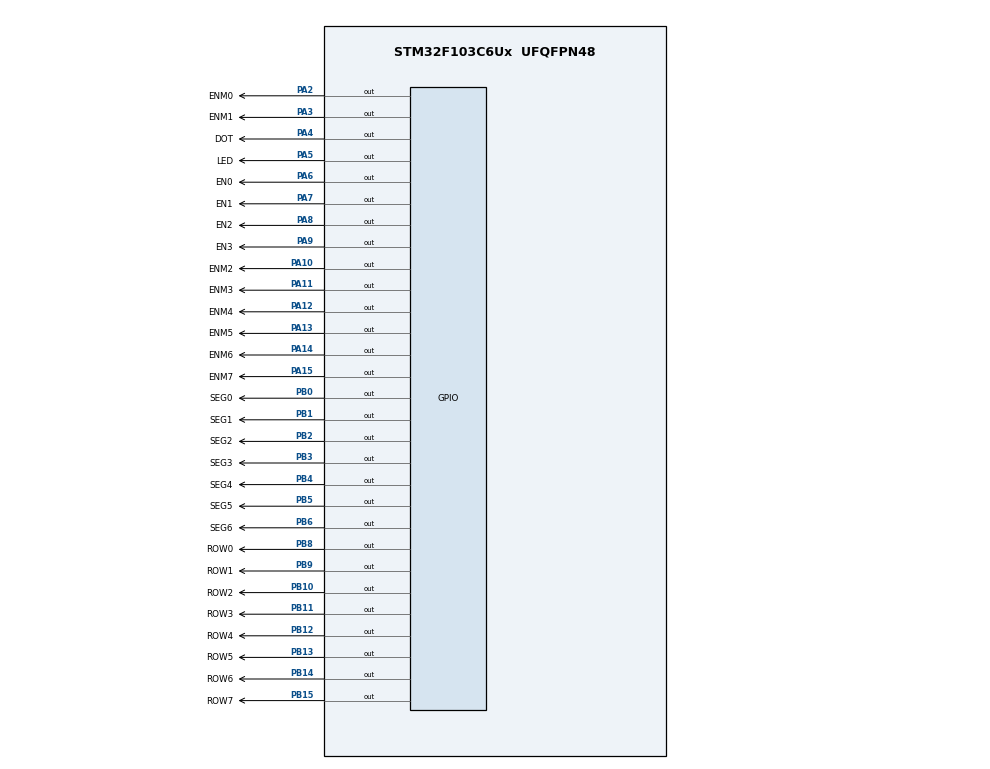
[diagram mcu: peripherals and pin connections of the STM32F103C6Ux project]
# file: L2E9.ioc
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Mcu.Family=STM32F1
Mcu.Name=STM32F103C6Ux
Mcu.Package=UFQFPN48
NVIC.PriorityGroup=NVIC_PRIORITYGROUP_4
NVIC.TIM2_IRQn=true\:0\:0\:false\:false\:true\:true\:true
PA10.GPIO_Label=ENM2
PA10.Signal=GPIO_Output
PA11.GPIO_Label=ENM3
PA11.Signal=GPIO_Output
PA12.GPIO_Label=ENM4
PA12.Signal=GPIO_Output
PA13.GPIO_Label=ENM5
PA13.Signal=GPIO_Output
PA14.GPIO_Label=ENM6
PA14.Signal=GPIO_Output
PA15.GPIO_Label=ENM7
PA15.Signal=GPIO_Output
PA2.GPIO_Label=ENM0
PA2.Signal=GPIO_Output
PA3.GPIO_Label=ENM1
PA3.Signal=GPIO_Output
PA4.GPIO_Label=DOT
PA4.Signal=GPIO_Output
PA5.GPIO_Label=LED
PA5.Signal=GPIO_Output
PA6.GPIO_Label=EN0
PA6.Signal=GPIO_Output
PA7.GPIO_Label=EN1
PA7.Signal=GPIO_Output
PA8.GPIO_Label=EN2
PA8.Signal=GPIO_Output
PA9.GPIO_Label=EN3
PA9.Signal=GPIO_Output
PB0.GPIO_Label=SEG0
PB0.Signal=GPIO_Output
PB1.GPIO_Label=SEG1
PB1.Signal=GPIO_Output
PB10.GPIO_Label=ROW2
PB10.Signal=GPIO_Output
PB11.GPIO_Label=ROW3
PB11.Signal=GPIO_Output
PB12.GPIO_Label=ROW4
PB12.Signal=GPIO_Output
PB13.GPIO_Label=ROW5
PB13.Signal=GPIO_Output
PB14.GPIO_Label=ROW6
PB14.Signal=GPIO_Output
PB15.GPIO_Label=ROW7
PB15.Signal=GPIO_Output
PB2.GPIO_Label=SEG2
PB2.Signal=GPIO_Output
PB3.GPIO_Label=SEG3
PB3.Signal=GPIO_Output
PB4.GPIO_Label=SEG4
PB4.Signal=GPIO_Output
PB5.GPIO_Label=SEG5
PB5.Signal=GPIO_Output
PB6.GPIO_Label=SEG6
PB6.Signal=GPIO_Output
PB8.GPIO_Label=ROW0
PB8.Signal=GPIO_Output
PB9.GPIO_Label=ROW1
PB9.Signal=GPIO_Output
ProjectManager.HeapSize=0x200
ProjectManager.StackSize=0x400
ProjectManager.TargetToolchain=STM32CubeIDE
RCC.APB1Freq_Value=8000000
RCC.APB2Freq_Value=8000000
TIM2.Period=9
TIM2.Prescaler=7999
VP_SYS_VS_ND.Mode=No_Debug
VP_TIM2_VS_ClockSourceINT.Mode=Internal
board=custom

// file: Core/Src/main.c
/* USER CODE BEGIN Header */
/**
  ******************************************************************************
  * @file           : main.c
  * @brief          : Main program body
  ******************************************************************************
  * @attention
  *
  * <h2><center>&copy; Copyright (c) 2024 STMicroelectronics.
  * All rights reserved.</center></h2>
  *
  * This software component is licensed by ST under BSD 3-Clause license,
  * the "License"; You may not use this file except in compliance with the
  * License. You may obtain a copy of the License at:
  *                        opensource.org/licenses/BSD-3-Clause
  *
  ******************************************************************************
  */
/* USER CODE END Header */
#include "main.h"
void display7SEG(int num);
void update7SEG(int index);
void updateClockBuffer();
void setCol(uint8_t val);

TIM_HandleTypeDef htim2;

void SystemClock_Config(void);
static void MX_GPIO_Init(void);
static void MX_TIM2_Init(void);

/* USER CODE BEGIN 0 */
const int MAX_LED = 4;
int index_led = 0;
int led_buffer[4] = {0, 0, 0, 0};
int hour = 15 , minute = 8 , second = 50;
int timer0_counter = 0;
int timer0_flag = 0;
int timer1_counter = 0;
int timer1_flag = 0;
int timer2_counter = 0;
int timer2_flag = 0;
int timer3_counter = 0;
int timer3_flag = 0;
int TIMER_CYCLE = 10;

const int MAX_LED_MATRIX = 8;
int index_led_matrix = 0;
uint8_t matrix_buffer[8] = {0xE7,0xDB,0xBD,0x7E,0x00,0x00,0x7E,0x7E}; // cap A

void setTimer0(int duration){
	timer0_counter = duration / TIMER_CYCLE ;
	timer0_flag = 0;
}
void setTimer1(int duration){
	timer1_counter = duration / TIMER_CYCLE ;
	timer1_flag = 0;
}
void setTimer2(int duration){
	timer2_counter = duration / TIMER_CYCLE ;
	timer2_flag = 0;
}
void setTimer3(int duration){
	timer3_counter = duration / TIMER_CYCLE ;
	timer3_flag = 0;
}
void timer_run(){
	if( timer0_counter > 0){
		timer0_counter--;
		if(timer0_counter == 0) timer0_flag = 1;
	}
	if( timer1_counter > 0){
		timer1_counter--;
		if(timer1_counter == 0) timer1_flag = 1;
	}
	if( timer2_counter > 0){
		timer2_counter--;
		if(timer2_counter == 0) timer2_flag = 1;
	}
	if( timer3_counter > 0){
		timer3_counter--;
		if(timer3_counter == 0) timer3_flag = 1;
	}
}
/* USER CODE END 0 */
void setCol(uint8_t val){
	HAL_GPIO_WritePin(ENM0_GPIO_Port, ENM0_Pin, ((val>>7)&0x01));
	HAL_GPIO_WritePin(ENM1_GPIO_Port, ENM1_Pin, ((val>>6)&0x01));
	HAL_GPIO_WritePin(ENM2_GPIO_Port, ENM2_Pin, ((val>>5)&0x01));
	HAL_GPIO_WritePin(ENM3_GPIO_Port, ENM3_Pin, ((val>>4)&0x01));
	HAL_GPIO_WritePin(ENM4_GPIO_Port, ENM4_Pin, ((val>>3)&0x01));
	HAL_GPIO_WritePin(ENM5_GPIO_Port, ENM5_Pin, ((val>>2)&0x01));
	HAL_GPIO_WritePin(ENM6_GPIO_Port, ENM6_Pin, ((val>>1)&0x01));
	HAL_GPIO_WritePin(ENM7_GPIO_Port, ENM7_Pin, ((val>>0)&0x01));
}

void updateLEDMatrix(uint8_t index){
    HAL_GPIO_WritePin(ROW0_GPIO_Port, ROW0_Pin, SET);
    HAL_GPIO_WritePin(ROW1_GPIO_Port, ROW1_Pin, SET);
    HAL_GPIO_WritePin(ROW2_GPIO_Port, ROW2_Pin, SET);
    HAL_GPIO_WritePin(ROW3_GPIO_Port, ROW3_Pin, SET);
    HAL_GPIO_WritePin(ROW4_GPIO_Port, ROW4_Pin, SET);
    HAL_GPIO_WritePin(ROW5_GPIO_Port, ROW5_Pin, SET);
    HAL_GPIO_WritePin(ROW6_GPIO_Port, ROW6_Pin, SET);
    HAL_GPIO_WritePin(ROW7_GPIO_Port, ROW7_Pin, SET);

    switch (index) {
        case 0:
            setCol(matrix_buffer[0]);
            HAL_GPIO_WritePin(ROW0_GPIO_Port, ROW0_Pin, RESET);
            break;
        case 1:
            setCol(matrix_buffer[1]);
            HAL_GPIO_WritePin(ROW1_GPIO_Port, ROW1_Pin, RESET);
            break;
        case 2:
            setCol(matrix_buffer[2]);
            HAL_GPIO_WritePin(ROW2_GPIO_Port, ROW2_Pin, RESET);
            break;
        case 3:
            setCol(matrix_buffer[3]);
            HAL_GPIO_WritePin(ROW3_GPIO_Port, ROW3_Pin, RESET);
            break;
        case 4:
            setCol(matrix_buffer[4]);
            HAL_GPIO_WritePin(ROW4_GPIO_Port, ROW4_Pin, RESET);
            break;
        case 5:
            setCol(matrix_buffer[5]);
            HAL_GPIO_WritePin(ROW5_GPIO_Port, ROW5_Pin, RESET);
            break;
        case 6:
            setCol(matrix_buffer[6]);
            HAL_GPIO_WritePin(ROW6_GPIO_Port, ROW6_Pin, RESET);
            break;
        case 7:
            setCol(matrix_buffer[7]);
            HAL_GPIO_WritePin(ROW7_GPIO_Port, ROW7_Pin, RESET);
            break;
        default:
            break;
    }
}

void updateClockBuffer(){
    led_buffer[0] = hour / 10;
    led_buffer[1] = hour % 10;
    led_buffer[2] = minute / 10;
    led_buffer[3] = minute % 10;
}

void update7SEG(int index){
	switch(index){
	case 0:
		display7SEG(led_buffer[0]);
    	HAL_GPIO_WritePin(GPIOA, EN0_Pin, 0);
    	HAL_GPIO_WritePin(GPIOA, EN1_Pin, 1);
    	HAL_GPIO_WritePin(GPIOA, EN2_Pin, 1);
    	HAL_GPIO_WritePin(GPIOA, EN3_Pin, 1);
		break;
	case 1:
		display7SEG(led_buffer[1]);
    	HAL_GPIO_WritePin(GPIOA, EN0_Pin, 1);
    	HAL_GPIO_WritePin(GPIOA, EN1_Pin, 0);
    	HAL_GPIO_WritePin(GPIOA, EN2_Pin, 1);
    	HAL_GPIO_WritePin(GPIOA, EN3_Pin, 1);
		break;
	case 2:
		display7SEG(led_buffer[2]);
    	HAL_GPIO_WritePin(GPIOA, EN0_Pin, 1);
    	HAL_GPIO_WritePin(GPIOA, EN1_Pin, 1);
    	HAL_GPIO_WritePin(GPIOA, EN2_Pin, 0);
    	HAL_GPIO_WritePin(GPIOA, EN3_Pin, 1);
		break;
	case 3:
		display7SEG(led_buffer[3]);
    	HAL_GPIO_WritePin(GPIOA, EN0_Pin, 1);
    	HAL_GPIO_WritePin(GPIOA, EN1_Pin, 1);
    	HAL_GPIO_WritePin(GPIOA, EN2_Pin, 1);
    	HAL_GPIO_WritePin(GPIOA, EN3_Pin, 0);
		break;
	default:
		break;
	}
}

void display7SEG(int num){
	  switch (num)
	      {
	      case 0:
	          HAL_GPIO_WritePin(GPIOB, SEG0_Pin | SEG1_Pin | SEG2_Pin | SEG3_Pin | SEG4_Pin | SEG5_Pin, GPIO_PIN_RESET);
	          HAL_GPIO_WritePin(GPIOB, SEG6_Pin, GPIO_PIN_SET);
	          break;
	      case 1:
	          HAL_GPIO_WritePin(GPIOB, SEG1_Pin | SEG2_Pin , GPIO_PIN_RESET);
	          HAL_GPIO_WritePin(GPIOB, SEG0_Pin | SEG6_Pin | SEG3_Pin | SEG4_Pin | SEG5_Pin, GPIO_PIN_SET);
	          break;
	      case 2:
	          HAL_GPIO_WritePin(GPIOB, SEG0_Pin | SEG1_Pin | SEG6_Pin | SEG3_Pin | SEG4_Pin , GPIO_PIN_RESET);
	          HAL_GPIO_WritePin(GPIOB, SEG2_Pin | SEG5_Pin, GPIO_PIN_SET);
	          break;
	      case 3:
	          HAL_GPIO_WritePin(GPIOB, SEG0_Pin | SEG1_Pin | SEG2_Pin | SEG3_Pin | SEG6_Pin, GPIO_PIN_RESET);
	          HAL_GPIO_WritePin(GPIOB, SEG4_Pin| SEG5_Pin, GPIO_PIN_SET);
	          break;
	      case 4:
	          HAL_GPIO_WritePin(GPIOB, SEG1_Pin | SEG2_Pin | SEG5_Pin | SEG6_Pin , GPIO_PIN_RESET);
	          HAL_GPIO_WritePin(GPIOB, SEG0_Pin| SEG3_Pin | SEG4_Pin, GPIO_PIN_SET);
	          break;
	      case 5:
	          HAL_GPIO_WritePin(GPIOB, SEG0_Pin | SEG2_Pin | SEG3_Pin | SEG5_Pin | SEG6_Pin, GPIO_PIN_RESET);
	          HAL_GPIO_WritePin(GPIOB, SEG1_Pin | SEG4_Pin , GPIO_PIN_SET);
	          break;
	      case 6:
	          HAL_GPIO_WritePin(GPIOB, SEG0_Pin | SEG2_Pin | SEG3_Pin | SEG4_Pin | SEG5_Pin | SEG6_Pin, GPIO_PIN_RESET);
	          HAL_GPIO_WritePin(GPIOB, SEG1_Pin, GPIO_PIN_SET);
	          break;
	      case 7:
	          HAL_GPIO_WritePin(GPIOB, SEG0_Pin | SEG1_Pin | SEG2_Pin , GPIO_PIN_RESET);
	          HAL_GPIO_WritePin(GPIOB, SEG3_Pin| SEG4_Pin | SEG5_Pin | SEG6_Pin, GPIO_PIN_SET);
	          break;
	      case 8:
	          HAL_GPIO_WritePin(GPIOB, SEG0_Pin | SEG1_Pin | SEG2_Pin | SEG3_Pin | SEG4_Pin | SEG5_Pin | SEG6_Pin, GPIO_PIN_RESET);
	          break;
	      case 9:
	          HAL_GPIO_WritePin(GPIOB, SEG0_Pin | SEG1_Pin | SEG2_Pin | SEG3_Pin | SEG5_Pin | SEG6_Pin, GPIO_PIN_RESET);
	          HAL_GPIO_WritePin(GPIOB, SEG4_Pin, GPIO_PIN_SET);
	          break;
	      }
}
int main(void)
{

  /* MCU Configuration--------------------------------------------------------*/

  /* Reset of all peripherals, Initializes the Flash interface and the Systick. */
  HAL_Init();

  /* Configure the system clock */
  SystemClock_Config();

  /* Initialize all configured peripherals */
  MX_GPIO_Init();
  MX_TIM2_Init();
  /* USER CODE BEGIN 2 */
  HAL_TIM_Base_Start_IT(&htim2);
  /* USER CODE END 2 */

  /* Infinite loop */
  /* USER CODE BEGIN WHILE */
  setTimer0(1000);
  setTimer1(1000);
  setTimer2(500);
  setTimer3(50);
  while (1)
  {
    /* USER CODE END WHILE */
	  if(timer0_flag == 1){
		  HAL_GPIO_TogglePin(LED_GPIO_Port , LED_Pin);
		  HAL_GPIO_TogglePin(DOT_GPIO_Port, DOT_Pin);
		  setTimer0(1000);
	  }

	  if(timer1_flag == 1){
		  second++;
		  if(second >= 60){
			  second = 0;
			  minute++;
		  }
		  if(minute >= 60){
			  minute = 0;
			  hour++;
		  }
		  if(hour >=24){
			  hour = 0;
		  }
		  updateClockBuffer();
		  setTimer1(1000);
	  }

	  if(timer2_flag == 1){
		  update7SEG(index_led);
		  index_led++;
		  if(index_led>=4){
			  index_led = 0;
		  }
		  setTimer2(500);
	  }

	  if(timer3_flag == 1){
		  updateLEDMatrix(index_led_matrix);
		  index_led_matrix++;
		  if(index_led_matrix>=8){
			  index_led_matrix = 0;
		  }
		  setTimer3(50);
	  }
  }
}

void SystemClock_Config(void)
{
  RCC_OscInitTypeDef RCC_OscInitStruct = {0};
  RCC_ClkInitTypeDef RCC_ClkInitStruct = {0};

  /** Initializes the RCC Oscillators according to the specified parameters
  * in the RCC_OscInitTypeDef structure.
  */
  RCC_OscInitStruct.OscillatorType = RCC_OSCILLATORTYPE_HSI;
  RCC_OscInitStruct.HSIState = RCC_HSI_ON;
  RCC_OscInitStruct.HSICalibrationValue = RCC_HSICALIBRATION_DEFAULT;
  RCC_OscInitStruct.PLL.PLLState = RCC_PLL_NONE;
  if (HAL_RCC_OscConfig(&RCC_OscInitStruct) != HAL_OK)
  {
    Error_Handler();
  }
  /** Initializes the CPU, AHB and APB buses clocks
  */
  RCC_ClkInitStruct.ClockType = RCC_CLOCKTYPE_HCLK|RCC_CLOCKTYPE_SYSCLK
                              |RCC_CLOCKTYPE_PCLK1|RCC_CLOCKTYPE_PCLK2;
  RCC_ClkInitStruct.SYSCLKSource = RCC_SYSCLKSOURCE_HSI;
  RCC_ClkInitStruct.AHBCLKDivider = RCC_SYSCLK_DIV1;
  RCC_ClkInitStruct.APB1CLKDivider = RCC_HCLK_DIV1;
  RCC_ClkInitStruct.APB2CLKDivider = RCC_HCLK_DIV1;

  if (HAL_RCC_ClockConfig(&RCC_ClkInitStruct, FLASH_LATENCY_0) != HAL_OK)
  {
    Error_Handler();
  }
}

static void MX_TIM2_Init(void)
{

  TIM_ClockConfigTypeDef sClockSourceConfig = {0};
  TIM_MasterConfigTypeDef sMasterConfig = {0};

  htim2.Instance = TIM2;
  htim2.Init.Prescaler = 7999;
  htim2.Init.CounterMode = TIM_COUNTERMODE_UP;
  htim2.Init.Period = 9;
  htim2.Init.ClockDivision = TIM_CLOCKDIVISION_DIV1;
  htim2.Init.AutoReloadPreload = TIM_AUTORELOAD_PRELOAD_DISABLE;
  if (HAL_TIM_Base_Init(&htim2) != HAL_OK)
  {
    Error_Handler();
  }
  sClockSourceConfig.ClockSource = TIM_CLOCKSOURCE_INTERNAL;
  if (HAL_TIM_ConfigClockSource(&htim2, &sClockSourceConfig) != HAL_OK)
  {
    Error_Handler();
  }
  sMasterConfig.MasterOutputTrigger = TIM_TRGO_RESET;
  sMasterConfig.MasterSlaveMode = TIM_MASTERSLAVEMODE_DISABLE;
  if (HAL_TIMEx_MasterConfigSynchronization(&htim2, &sMasterConfig) != HAL_OK)
  {
    Error_Handler();
  }

}

static void MX_GPIO_Init(void)
{
  GPIO_InitTypeDef GPIO_InitStruct = {0};

  /* GPIO Ports Clock Enable */
  __HAL_RCC_GPIOA_CLK_ENABLE();
  __HAL_RCC_GPIOB_CLK_ENABLE();

  /*Configure GPIO pin Output Level */
  HAL_GPIO_WritePin(GPIOA, ENM0_Pin|ENM1_Pin|DOT_Pin|LED_Pin
                          |EN0_Pin|EN1_Pin|EN2_Pin|EN3_Pin
                          |ENM2_Pin|ENM3_Pin|ENM4_Pin|ENM5_Pin
                          |ENM6_Pin|ENM7_Pin, GPIO_PIN_RESET);

  /*Configure GPIO pin Output Level */
  HAL_GPIO_WritePin(GPIOB, SEG0_Pin|SEG1_Pin|SEG2_Pin|ROW2_Pin
                          |ROW3_Pin|ROW4_Pin|ROW5_Pin|ROW6_Pin
                          |ROW7_Pin|SEG3_Pin|SEG4_Pin|SEG5_Pin
                          |SEG6_Pin|ROW0_Pin|ROW1_Pin, GPIO_PIN_RESET);

  /*Configure GPIO pins : ENM0_Pin ENM1_Pin DOT_Pin LED_Pin
                           EN0_Pin EN1_Pin EN2_Pin EN3_Pin
                           ENM2_Pin ENM3_Pin ENM4_Pin ENM5_Pin
                           ENM6_Pin ENM7_Pin */
  GPIO_InitStruct.Pin = ENM0_Pin|ENM1_Pin|DOT_Pin|LED_Pin
                          |EN0_Pin|EN1_Pin|EN2_Pin|EN3_Pin
                          |ENM2_Pin|ENM3_Pin|ENM4_Pin|ENM5_Pin
                          |ENM6_Pin|ENM7_Pin;
  GPIO_InitStruct.Mode = GPIO_MODE_OUTPUT_PP;
  GPIO_InitStruct.Pull = GPIO_NOPULL;
  GPIO_InitStruct.Speed = GPIO_SPEED_FREQ_LOW;
  HAL_GPIO_Init(GPIOA, &GPIO_InitStruct);

  /*Configure GPIO pins : SEG0_Pin SEG1_Pin SEG2_Pin ROW2_Pin
                           ROW3_Pin ROW4_Pin ROW5_Pin ROW6_Pin
                           ROW7_Pin SEG3_Pin SEG4_Pin SEG5_Pin
                           SEG6_Pin ROW0_Pin ROW1_Pin */
  GPIO_InitStruct.Pin = SEG0_Pin|SEG1_Pin|SEG2_Pin|ROW2_Pin
                          |ROW3_Pin|ROW4_Pin|ROW5_Pin|ROW6_Pin
                          |ROW7_Pin|SEG3_Pin|SEG4_Pin|SEG5_Pin
                          |SEG6_Pin|ROW0_Pin|ROW1_Pin;
  GPIO_InitStruct.Mode = GPIO_MODE_OUTPUT_PP;
  GPIO_InitStruct.Pull = GPIO_NOPULL;
  GPIO_InitStruct.Speed = GPIO_SPEED_FREQ_LOW;
  HAL_GPIO_Init(GPIOB, &GPIO_InitStruct);

}

/* USER CODE BEGIN 4 */
int counter = 100;
void HAL_TIM_PeriodElapsedCallback (TIM_HandleTypeDef *htim){
	timer_run();
}
/* USER CODE END 4 */

void Error_Handler(void)
{
  __disable_irq();
  while (1)
  {
  }
}

/************************ (C) COPYRIGHT STMicroelectronics *****END OF FILE****/
